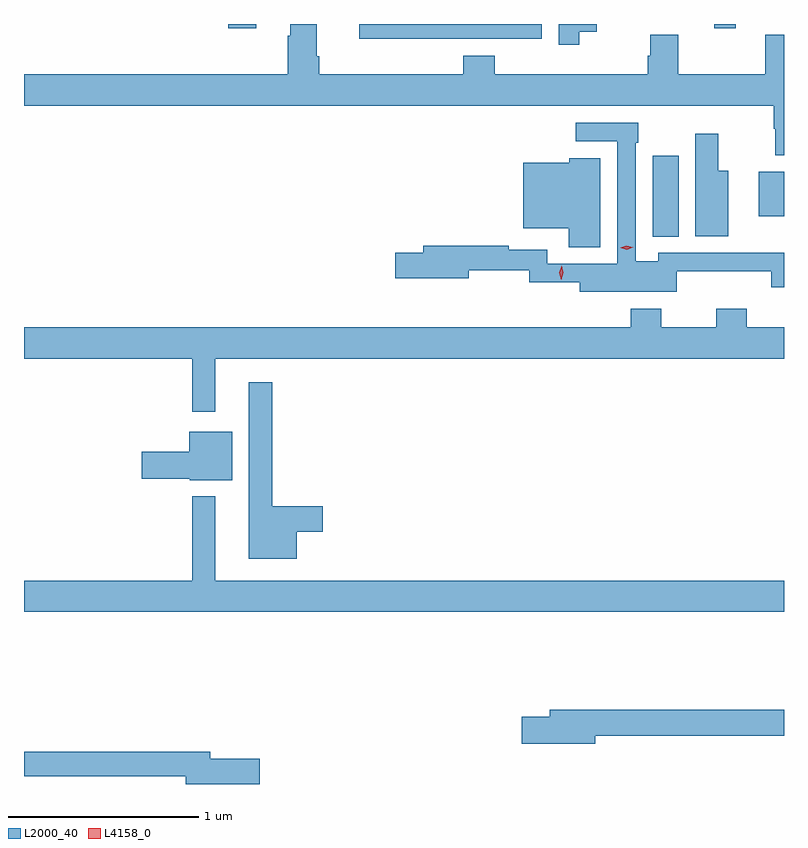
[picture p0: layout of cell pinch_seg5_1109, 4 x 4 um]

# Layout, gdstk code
import gdstk
lib = gdstk.Library(unit=1e-6, precision=1e-09)
def R(c, l, rs):  # rectangles x0, y0, x1, y1
    for r in rs: c.add(gdstk.rectangle(r[:2], r[2:], *l))
def P(c, l, *ps):  # polygons
    for p in ps: c.add(gdstk.Polygon(p, *l))
L2000_40 = (2000, 40)
L4158_0 = (4158, 0)

pinch_seg5_1109 = lib.new_cell('pinch_seg5_1109')
R(pinch_seg5_1109, L2000_40, [(782.297,852.073,782.434,852.499), (782.855,852.182,782.989,852.415), (780.063,853.17,780.211,853.193), (782.623,853.17,782.734,853.193)])
P(pinch_seg5_1109, L2000_40, [(782.989,853.136),(782.89,853.136),(782.89,852.928),(782.433,852.928),(782.433,853.136),(782.285,853.136),(782.285,853.026),(782.273,853.026),(782.273,852.928),(781.466,852.928),(781.466,853.027),(781.301,853.027),(781.301,852.928),(780.542,852.928),(780.542,853.024),(780.529,853.024),(780.529,853.193),(780.389,853.193),(780.389,853.13),(780.377,853.13),(780.377,852.928),(778.989,852.928),(778.989,852.764),(782.935,852.764),(782.935,852.641),(782.943,852.641),(782.943,852.501),(782.989,852.501)],
  [(781.912,853.153),(782.004,853.153),(782.004,853.193),(781.803,853.193),(781.803,853.083),(781.912,853.083)],
  [(781.217,853.116),(781.713,853.116),(781.713,853.193),(780.754,853.193),(780.754,853.115),(781.217,853.115)],
  [(782.424,851.891),(782.921,851.891),(782.921,851.808),(782.989,851.808),(782.989,851.99),(782.837,851.99),(782.837,851.988),(782.328,851.988),(782.328,851.944),(782.208,851.944),(782.208,852.569),(782.221,852.569),(782.221,852.672),(781.893,852.672),(781.893,852.576),(782.112,852.576),(782.112,851.931),(781.743,851.931),(781.743,852.006),(781.54,852.006),(781.54,852.026),(781.091,852.026),(781.091,851.99),(780.942,851.99),(780.942,851.855),(781.33,851.855),(781.33,851.898),(781.647,851.898),(781.647,851.833),(781.913,851.833),(781.913,851.783),(782.424,851.783)],
  [(782.695,852.421),(782.644,852.421),(782.644,852.616),(782.522,852.616),(782.522,852.077),(782.695,852.077)],
  [(782.023,852.487),(781.86,852.487),(781.86,852.463),(781.616,852.463),(781.616,852.119),(781.856,852.119),(781.856,852.017),(782.023,852.017)],
  [(779.995,851.432),(782.989,851.432),(782.989,851.596),(782.792,851.596),(782.792,851.695),(782.632,851.695),(782.632,851.596),(782.343,851.596),(782.343,851.695),(782.183,851.695),(782.183,851.596),(778.989,851.596),(778.989,851.432),(779.874,851.432),(779.874,851.151),(779.995,851.151)],
  [(780.424,850.52),(780.562,850.52),(780.562,850.655),(780.295,850.655),(780.295,851.308),(780.173,851.308),(780.173,850.379),(780.424,850.379)],
  [(780.085,851.047),(779.858,851.047),(779.858,850.941),(779.61,850.941),(779.61,850.799),(779.862,850.799),(779.862,850.793),(780.085,850.793)],
  [(782.989,850.264),(779.995,850.264),(779.995,850.708),(779.874,850.708),(779.874,850.264),(778.989,850.264),(778.989,850.1),(782.989,850.1)],
  [(781.996,849.448),(782.989,849.448),(782.989,849.584),(781.757,849.584),(781.757,849.548),(781.608,849.548),(781.608,849.406),(781.996,849.406)],
  [(780.229,849.326),(779.968,849.326),(779.968,849.362),(778.989,849.362),(778.989,849.234),(779.84,849.234),(779.84,849.193),(780.229,849.193)])
P(pinch_seg5_1109, L4158_0, [(782.161,852.006),(782.126,852.015),(782.126,852.015),(782.126,852.015),(782.16,852.026),(782.195,852.017),(782.195,852.017),(782.195,852.017)],
  [(781.816,851.848),(781.816,851.848),(781.807,851.885),(781.818,851.921),(781.818,851.921),(781.819,851.921),(781.827,851.884),(781.816,851.848)])

lib.write_gds('pinch_seg5_1109.gds')
